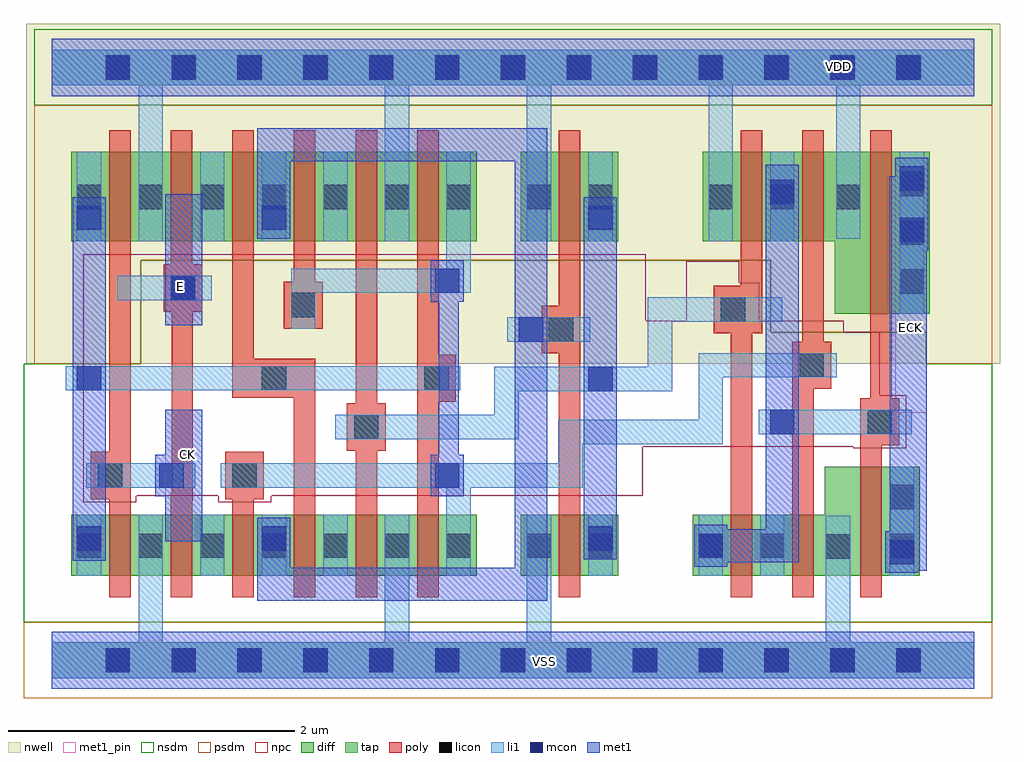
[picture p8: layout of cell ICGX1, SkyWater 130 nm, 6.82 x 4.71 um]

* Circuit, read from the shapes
.subckt ICGX1 CK E ECK VDD VSS
XM1 VSS CK n1 VSS sky130_fd_pr__nfet_01v8 w=0.425 l=0.15
XM2 n2 E VSS VSS sky130_fd_pr__nfet_01v8 w=0.425 l=0.15
XM3 n3 n4 n2 VSS sky130_fd_pr__nfet_01v8 w=0.425 l=0.15
XM4 n5 n1 n3 VSS sky130_fd_pr__nfet_01v8 w=0.425 l=0.15
XM5 VSS n6 n5 VSS sky130_fd_pr__nfet_01v8 w=0.425 l=0.15
XM6 n4 n1 VSS VSS sky130_fd_pr__nfet_01v8 w=0.425 l=0.15
XM7 n6 n3 VSS VSS sky130_fd_pr__nfet_01v8 w=0.425 l=0.15
XM8 n7 n6 n8 VSS sky130_fd_pr__nfet_01v8 w=0.425 l=0.15
XM9 VSS n4 n7 VSS sky130_fd_pr__nfet_01v8 w=0.425 l=0.15
XM10 ECK n8 VSS VSS sky130_fd_pr__nfet_01v8 w=0.76 l=0.15
XM11 VDD CK n1 VDD sky130_fd_pr__pfet_01v8 w=0.625 l=0.15
XM12 n9 E VDD VDD sky130_fd_pr__pfet_01v8 w=0.625 l=0.15
XM13 n3 n1 n9 VDD sky130_fd_pr__pfet_01v8 w=0.625 l=0.15
XM14 n10 n4 n3 VDD sky130_fd_pr__pfet_01v8 w=0.625 l=0.15
XM15 VDD n6 n10 VDD sky130_fd_pr__pfet_01v8 w=0.625 l=0.15
XM16 n4 n1 VDD VDD sky130_fd_pr__pfet_01v8 w=0.625 l=0.15
XM17 n6 n3 VDD VDD sky130_fd_pr__pfet_01v8 w=0.625 l=0.15
XM18 n8 n6 VDD VDD sky130_fd_pr__pfet_01v8 w=0.625 l=0.15
XM19 VDD n4 n8 VDD sky130_fd_pr__pfet_01v8 w=0.625 l=0.15
XM20 ECK n8 VDD VDD sky130_fd_pr__pfet_01v8 w=1.13 l=0.15
.ends

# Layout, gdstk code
from math import pi, radians
import gdstk
lib = gdstk.Library(unit=1e-6, precision=1e-09)
def R(c, l, rs):  # rectangles x0, y0, x1, y1
    for r in rs: c.add(gdstk.rectangle(r[:2], r[2:], *l))
def A(c, l, x, y, w, h, nx, ny, dx, dy):  # array of equal rectangles
    R(c, l, [(x+i*dx, y+j*dy, x+i*dx+w, y+j*dy+h) for i in range(nx) for j in range(ny)])
def P(c, l, *ps):  # polygons
    for p in ps: c.add(gdstk.Polygon(p, *l))
nwell = (64, 20)
diff = (65, 20)
tap = (65, 44)
poly = (66, 20)
licon = (66, 44)
li1 = (67, 20)
mcon = (67, 44)
met1_pin = (68, 16)
met1 = (68, 20)
nsdm = (93, 44)
psdm = (94, 20)
npc = (95, 20)

pyl1con_c_cdns_750710154 = lib.new_cell('PYL1CON_C_CDNS_750710154092')
R(pyl1con_c_cdns_750710154, poly, [(-0.135,-0.165,0.135,0.165)])
R(pyl1con_c_cdns_750710154, licon, [(-0.085,-0.085,0.085,0.085)])
R(pyl1con_c_cdns_750710154, npc, [(-0.185,-0.185,0.185,0.185)])

l1m1_c_cdns_750710154090 = lib.new_cell('L1M1_C_CDNS_750710154090')
R(l1m1_c_cdns_750710154090, li1, [(-0.165,-0.085,0.165,0.085)])
R(l1m1_c_cdns_750710154090, mcon, [(-0.085,-0.085,0.085,0.085)])
R(l1m1_c_cdns_750710154090, met1, [(-0.115,-0.145,0.115,0.145)])

l1m1_c_cdns_750710154094 = lib.new_cell('L1M1_C_CDNS_750710154094')
R(l1m1_c_cdns_750710154094, li1, [(-0.085,-0.345,0.085,0.345)])
R(l1m1_c_cdns_750710154094, mcon, [(-0.085,-0.265,0.085,-0.095), (-0.085,0.095,0.085,0.265)])
R(l1m1_c_cdns_750710154094, met1, [(-0.115,-0.325,0.115,0.325)])

l1m1_c_cdns_750710154091 = lib.new_cell('L1M1_C_CDNS_750710154091')
R(l1m1_c_cdns_750710154091, li1, [(-0.085,-0.165,0.085,0.165)])
R(l1m1_c_cdns_750710154091, mcon, [(-0.085,-0.085,0.085,0.085)])
R(l1m1_c_cdns_750710154091, met1, [(-0.115,-0.145,0.115,0.145)])

c_pyl1con_c_cdns_750710154 = lib.new_cell('PYL1CON_C_CDNS_750710154099')
R(c_pyl1con_c_cdns_750710154, poly, [(-0.135,-0.29,0.135,0.29)])
R(c_pyl1con_c_cdns_750710154, licon, [(-0.085,-0.085,0.085,0.085)])
R(c_pyl1con_c_cdns_750710154, npc, [(-0.185,-0.185,0.185,0.185)])

licondiff_c_cdns_7507101 = lib.new_cell('LICONDIFF_C_CDNS_7507101540911')
R(licondiff_c_cdns_7507101, diff, [(-0.125,-0.145,0.125,0.145)])
R(licondiff_c_cdns_7507101, licon, [(-0.085,-0.085,0.085,0.085), (-0.085,-0.085,0.085,0.085)])

lilicon_c_cdns_750710154 = lib.new_cell('LILICON_C_CDNS_7507101540918')
R(lilicon_c_cdns_750710154, licon, [(-0.085,-0.085,0.085,0.085), (-0.085,-0.085,0.085,0.085)])
R(lilicon_c_cdns_750710154, li1, [(-0.085,-0.165,0.085,0.165)])

icgx1 = lib.new_cell('ICGX1')
R(icgx1, nwell, [(-0.18,2.07,6.16,4.445), (3.96,2.07,6.62,3.995), (5.285,2.24,6.31,3.73), (-0.045,2.745,0.785,3.73), (0.425,2.745,1.425,3.73), (0.815,2.745,1.645,3.73), (1.285,2.745,2.285,3.73), (1.675,2.745,2.715,3.73), (2.105,2.745,3.145,3.73), (3.095,2.745,4.135,3.73), (4.365,2.745,5.405,3.73), (4.795,2.745,5.645,3.73), (-0.18,3.875,6.16,4.445), (3.96,3.875,6.62,4.445)])
A(icgx1, diff, 0.4, 0.59, 0.15, 0.425, 6, 1, 0.43, 0)
A(icgx1, diff, 0.4, 2.925, 0.15, 0.625, 6, 1, 0.43, 0)
R(icgx1, diff, [(0.135,0.59,0.4,1.015), (0.55,0.59,0.605,1.015), (0.605,0.59,0.83,1.015), (0.98,0.59,1.245,1.015), (0.995,0.59,1.26,1.015), (1.41,0.59,1.635,1.015), (1.635,0.59,1.69,1.015), (1.84,0.59,2.105,1.015), (1.855,0.59,2.12,1.015), (2.27,0.59,2.535,1.015), (2.285,0.59,2.55,1.015), (2.7,0.59,2.965,1.015), (3.275,0.59,3.54,1.015), (3.54,0.59,3.69,1.015), (3.69,0.59,3.955,1.015), (4.475,0.59,4.74,1.015), (4.74,0.59,4.89,1.015), (4.89,0.59,5.155,1.015), (4.905,0.59,5.17,1.015), (5.17,0.59,5.32,1.015), (5.32,0.59,5.395,1.015), (5.395,0.59,5.645,1.35), (5.645,0.59,5.795,1.35), (5.795,0.59,6.06,1.35), (5.465,2.42,5.715,3.55), (5.715,2.42,5.865,3.55), (5.865,2.42,6.13,3.55), (0.135,2.925,0.4,3.55), (0.55,2.925,0.605,3.55), (0.605,2.925,0.83,3.55), (0.98,2.925,1.245,3.55), (0.995,2.925,1.26,3.55), (1.41,2.925,1.465,3.55), (1.465,2.925,1.69,3.55), (1.84,2.925,2.105,3.55), (1.855,2.925,2.12,3.55), (2.27,2.925,2.535,3.55), (2.285,2.925,2.55,3.55), (2.7,2.925,2.965,3.55), (3.275,2.925,3.54,3.55), (3.54,2.925,3.69,3.55), (3.69,2.925,3.955,3.55), (4.545,2.925,4.81,3.55), (4.81,2.925,4.96,3.55), (4.96,2.925,5.225,3.55), (4.975,2.925,5.24,3.55), (5.24,2.925,5.39,3.55), (5.39,2.925,5.465,3.55)])
A(icgx1, poly, 0.4, 0.44, 0.15, 0.055, 6, 2, 0.43, 0.67)
A(icgx1, poly, 0.4, 0.495, 0.15, 0.095, 6, 2, 0.43, 0.52)
A(icgx1, poly, 0.4, 0.59, 0.15, 0.425, 6, 1, 0.43, 0)
A(icgx1, poly, 1.26, 2.775, 0.15, 0.055, 4, 1, 0.43, 0)
A(icgx1, poly, 1.26, 2.83, 0.15, 0.095, 4, 1, 0.43, 0)
A(icgx1, poly, 0.4, 2.925, 0.15, 0.625, 6, 1, 0.43, 0)
A(icgx1, poly, 0.4, 3.55, 0.15, 0.095, 6, 1, 0.43, 0)
A(icgx1, poly, 0.4, 3.645, 0.15, 0.055, 6, 1, 0.43, 0)
R(icgx1, poly, [(3.54,0.44,3.69,0.495), (4.74,0.44,4.89,0.495), (5.17,0.44,5.32,0.495), (5.645,0.44,5.795,0.495), (3.54,0.495,3.69,0.59), (4.74,0.495,4.89,0.59), (5.17,0.495,5.32,0.59), (5.645,0.495,5.795,0.59), (3.54,0.59,3.69,1.015), (4.74,0.59,4.89,1.015), (5.17,0.59,5.32,1.015), (5.645,0.59,5.795,1.35), (3.54,1.015,3.69,1.11), (4.74,1.015,4.89,1.11), (5.17,1.015,5.32,1.11), (3.54,1.11,3.69,1.165), (4.74,1.11,4.89,1.165), (5.17,1.11,5.32,1.165), (5.645,1.35,5.795,1.445), (5.645,1.445,5.795,1.5), (5.715,2.27,5.865,2.325), (5.715,2.325,5.865,2.42), (5.715,2.42,5.865,3.55), (0.83,2.725,0.98,2.78), (0.4,2.775,0.55,2.83), (3.54,2.775,3.69,2.83), (4.81,2.775,4.96,2.83), (5.24,2.775,5.39,2.83), (0.83,2.78,0.98,2.925), (0.4,2.83,0.55,2.925), (3.54,2.83,3.69,2.925), (4.81,2.83,4.96,2.925), (5.24,2.83,5.39,2.925), (3.54,2.925,3.69,3.55), (4.81,2.925,4.96,3.55), (5.24,2.925,5.39,3.55), (3.54,3.55,3.69,3.645), (4.81,3.55,4.96,3.645), (5.24,3.55,5.39,3.645), (5.715,3.55,5.865,3.645), (3.54,3.645,3.69,3.7), (4.81,3.645,4.96,3.7), (5.24,3.645,5.39,3.7), (5.715,3.645,5.865,3.7)])
P(icgx1, poly, [(5.28,2.025),(5.235,2.07),(5.235,2.14),(5.275,2.18),(5.345,2.18),(5.39,2.135),(5.39,2.065),(5.35,2.025)])
A(icgx1, licon, 0.375, -0.085, 0.17, 0.17, 9, 2, 0.46, 4.14)
A(icgx1, licon, 4.055, -0.085, 0.17, 0.17, 5, 1, 0.46, 0)
A(icgx1, licon, 0.175, 0.715, 0.17, 0.17, 3, 2, 0.43, 2.435)
A(icgx1, licon, 1.035, 0.715, 0.17, 0.17, 3, 2, 0.43, 2.435)
A(icgx1, licon, 5.92, 2.56, 0.17, 0.17, 1, 3, 0, 0.34)
A(icgx1, licon, 4.515, 4.055, 0.17, 0.17, 4, 1, 0.46, 0)
R(icgx1, licon, [(1.895,0.715,2.065,0.885), (2.325,0.715,2.495,0.885), (2.325,0.715,2.495,0.885), (2.755,0.715,2.925,0.885), (3.315,0.715,3.485,0.885), (3.745,0.715,3.915,0.885), (4.515,0.715,4.685,0.885), (4.945,0.715,5.115,0.885), (4.945,0.715,5.115,0.885), (5.85,0.715,6.02,0.885), (5.85,1.055,6.02,1.225), (1.895,3.15,2.065,3.32), (2.325,3.15,2.495,3.32), (2.325,3.15,2.495,3.32), (2.755,3.15,2.925,3.32), (3.315,3.15,3.485,3.32), (3.745,3.15,3.915,3.32), (4.585,3.15,4.755,3.32), (5.015,3.15,5.185,3.32), (5.015,3.15,5.185,3.32), (4.055,4.055,4.225,4.225), (4.515,4.055,4.685,4.225)])
A(icgx1, li1, 0.175, 0.59, 0.17, 0.425, 3, 1, 0.43, 0)
A(icgx1, li1, 1.035, 0.59, 0.17, 0.425, 3, 1, 0.43, 0)
A(icgx1, li1, 0.175, 2.925, 0.17, 0.625, 3, 1, 0.43, 0)
A(icgx1, li1, 1.035, 2.925, 0.17, 0.625, 3, 1, 0.43, 0)
R(icgx1, li1, [(1.895,0.59,2.065,1.015), (2.325,0.59,2.495,1.015), (2.325,0.59,2.495,1.015), (2.755,0.59,2.925,1.015), (3.315,0.59,3.485,1.015), (3.745,0.59,3.915,1.015), (4.515,0.59,4.685,1.015), (4.945,0.59,5.115,1.015), (4.945,0.59,5.115,1.015), (5.85,0.59,6.02,1.35), (1.67,2.315,1.84,2.735), (5.92,2.42,6.09,3.55), (1.895,2.925,2.065,3.55), (2.325,2.925,2.495,3.55), (2.325,2.925,2.495,3.55), (2.755,2.925,2.925,3.55), (3.315,2.925,3.485,3.55), (3.745,2.925,3.915,3.55), (4.585,2.925,4.755,3.55), (5.015,2.925,5.185,3.55), (5.015,2.925,5.185,3.55)])
A(icgx1, mcon, 0.375, -0.085, 0.17, 0.17, 9, 2, 0.46, 4.14)
A(icgx1, mcon, 4.055, -0.085, 0.17, 0.17, 5, 1, 0.46, 0)
A(icgx1, mcon, 4.515, 4.055, 0.17, 0.17, 4, 1, 0.46, 0)
R(icgx1, mcon, [(4.055,4.055,4.225,4.225), (4.515,4.055,4.685,4.225)])
R(icgx1, met1_pin, [(0,-0.2,6.44,0.2), (0.79,0.83,1.05,1.75), (5.89,1.73,6.11,3.51), (0.79,2.34,1.05,3.255), (0,3.94,6.44,4.34)])
R(icgx1, met1, [(0.85,1.385,0.99,1.525), (0.83,2.525,0.97,2.665), (5.905,2.915,6.045,3.055)])
R(icgx1, nsdm, [(-0.005,0.46,0.615,1.145), (0.595,0.46,1.385,1.145), (0.855,0.46,1.645,1.145), (1.625,0.46,2.245,1.145), (1.715,0.46,2.675,1.145), (2.145,0.46,3.105,1.145), (3.135,0.46,4.095,1.145), (4.335,0.46,5.295,1.145), (4.765,0.46,5.275,1.145), (5.255,0.46,6.2,1.48), (-0.125,3.875,6.105,4.405), (4.015,3.875,6.565,4.405), (4.015,3.93,6.565,4.35)])
P(icgx1, nsdm, [(6.565,2.07),(6.105,2.07),(6.105,2.29),(5.02,2.29),(5.02,0.265),(6.565,0.265)],
  [(6.565,2.07),(5.02,2.07),(5.02,2.795),(0.62,2.795),(0.62,2.07),(-0.195,2.07),(-0.195,0.265),(6.565,0.265)])
R(icgx1, psdm, [(-0.195,-0.265,6.565,0.265), (-0.195,-0.21,6.565,0.21), (5.325,2.29,6.27,3.68), (-0.005,2.795,0.615,3.68), (0.595,2.795,1.385,3.68), (0.855,2.795,1.475,3.68), (1.455,2.795,2.245,3.68), (1.715,2.795,2.675,3.68), (2.145,2.795,3.105,3.68), (3.135,2.795,4.095,3.68), (4.405,2.795,5.365,3.68), (4.835,2.795,5.345,3.68)])
P(icgx1, psdm, [(6.565,3.875),(5.02,3.875),(5.02,2.29),(6.105,2.29),(6.105,2.07),(6.565,2.07)],
  [(6.105,3.875),(-0.125,3.875),(-0.125,2.07),(0.62,2.07),(0.62,2.795),(5.02,2.795),(5.02,2.29),(6.105,2.29)])
P(icgx1, npc, [(5.78,2.295),(4.8,2.295),(4.8,2.785),(4.43,2.785),(4.43,1.49),(5.78,1.49)],
  [(5.53,2.37),(4.145,2.37),(4.145,2.835),(0.22,2.835),(0.22,1.15),(4.125,1.15),(4.125,1.49),(5.53,1.49)])
icgx1.add(gdstk.FlexPath([(4.885,2.835),(4.885,2.36)], 0.15, ends=(0, 0.075), simple_path=True, layer=66, datatype=20))  # poly
icgx1.add(gdstk.FlexPath([(5.245,1.165),(5.245,2.105)], 0.15, ends=(0, 0.075), simple_path=True, layer=66, datatype=20))  # poly
icgx1.add(gdstk.FlexPath([(5.245,2.105),(5.31,2.105)], 0.15, ends=(0.075, 0), simple_path=True, layer=66, datatype=20))  # poly
icgx1.add(gdstk.FlexPath([(4.815,2.54),(4.815,1.165)], 0.15, ends=(0.075, 0), simple_path=True, layer=66, datatype=20))  # poly
icgx1.add(gdstk.FlexPath([(2.195,2.83),(2.195,1.11)], 0.15, ends="flush", simple_path=True, layer=66, datatype=20))  # poly
icgx1.add(gdstk.FlexPath([(1.765,2.775),(1.765,2.51)], 0.15, ends="flush", simple_path=True, layer=66, datatype=20))  # poly
icgx1.add(gdstk.FlexPath([(0.475,2.83),(0.475,1.04)], 0.15, ends="flush", simple_path=True, layer=66, datatype=20))  # poly
icgx1.add(gdstk.FlexPath([(3.615,1.11),(3.615,2.83)], 0.15, ends="flush", simple_path=True, layer=66, datatype=20))  # poly
icgx1.add(gdstk.FlexPath([(0.91,1.11),(0.91,2.78)], 0.15, ends="flush", simple_path=True, layer=66, datatype=20))  # poly
icgx1.add(gdstk.FlexPath([(2.625,1.165),(2.625,2.775)], 0.15, ends="flush", simple_path=True, layer=66, datatype=20))  # poly
icgx1.add(gdstk.FlexPath([(1.765,1.97),(1.765,1.11)], 0.15, ends=(0.075, 0), simple_path=True, layer=66, datatype=20))  # poly
icgx1.add(gdstk.FlexPath([(1.335,1.97),(1.765,1.97)], 0.15, ends="extended", simple_path=True, layer=66, datatype=20))  # poly
icgx1.add(gdstk.FlexPath([(1.335,1.97),(1.335,2.83)], 0.15, ends=(0.075, 0), simple_path=True, layer=66, datatype=20))  # poly
icgx1.add(gdstk.FlexPath([(5.79,2.27),(5.79,1.5)], 0.15, ends="flush", simple_path=True, layer=66, datatype=20))  # poly
icgx1.add(gdstk.FlexPath([(5.315,2.1),(5.315,2.775)], 0.15, ends="flush", simple_path=True, layer=66, datatype=20))  # poly
icgx1.add(gdstk.FlexPath([(2.635,1.97),(2.85,1.97)], 0.17, ends=(0.085, 0), simple_path=True, layer=67, datatype=20))  # li1
icgx1.add(gdstk.FlexPath([(3.345,2.31),(3.76,2.31)], 0.17, ends="flush", simple_path=True, layer=67, datatype=20))  # li1
icgx1.add(gdstk.FlexPath([(0,4.14),(4.14,4.14)], 0.25, ends="flush", simple_path=True, layer=67, datatype=20))  # li1
icgx1.add(gdstk.FlexPath([(4.245,2.45),(5.1,2.45)], 0.17, ends=(0.085, 0), simple_path=True, layer=67, datatype=20))  # li1
icgx1.add(gdstk.FlexPath([(4.14,4.14),(6.44,4.14)], 0.25, ends="flush", simple_path=True, layer=67, datatype=20))  # li1
icgx1.add(gdstk.FlexPath([(5.56,3.08),(5.56,3.07)], 0.17, ends=(0.125, 0.125), simple_path=True, layer=67, datatype=20))  # li1
icgx1.add(gdstk.FlexPath([(4.9,2.06),(4.6,2.06),(4.6,1.595),(3.62,1.595),(3.62,1.29),(2.88,1.29)], 0.17, ends="flush", simple_path=True, layer=67, datatype=20))  # li1
icgx1.add(gdstk.FlexPath([(1.98,1.63),(3.175,1.63)], 0.17, ends=(0, 0.085), simple_path=True, layer=67, datatype=20))  # li1
icgx1.add(gdstk.FlexPath([(3.175,1.63),(3.175,1.965)], 0.17, ends="extended", simple_path=True, layer=67, datatype=20))  # li1
icgx1.add(gdstk.FlexPath([(3.175,1.965),(4.33,1.965)], 0.17, ends=(0.085, 0), simple_path=True, layer=67, datatype=20))  # li1
icgx1.add(gdstk.FlexPath([(0,0),(6.44,0)], 0.25, ends="flush", simple_path=True, layer=67, datatype=20))  # li1
icgx1.add(gdstk.FlexPath([(4.67,3.55),(4.67,4.14)], 0.17, ends=(0, 0.125), simple_path=True, layer=67, datatype=20))  # li1
icgx1.add(gdstk.FlexPath([(4.88,2.06),(5.48,2.06)], 0.17, ends="flush", simple_path=True, layer=67, datatype=20))  # li1
icgx1.add(gdstk.FlexPath([(4.245,1.88),(4.245,2.45)], 0.17, ends=(0, 0.085), simple_path=True, layer=67, datatype=20))  # li1
icgx1.add(gdstk.FlexPath([(6.005,1.665),(5.135,1.665)], 0.17, ends="flush", simple_path=True, layer=67, datatype=20))  # li1
icgx1.add(gdstk.FlexPath([(5.49,0.02),(5.49,0.01)], 0.17, ends=(0.125, 0.125), simple_path=True, layer=67, datatype=20))  # li1
icgx1.add(gdstk.FlexPath([(5.49,1.01),(5.49,0.02)], 0.17, ends=(0, 0.125), simple_path=True, layer=67, datatype=20))  # li1
icgx1.add(gdstk.FlexPath([(2.635,1.97),(2.635,1.975)], 0.17, ends=(0.085, 0), simple_path=True, layer=67, datatype=20))  # li1
icgx1.add(gdstk.FlexPath([(2.84,1.015),(2.84,1.29)], 0.17, ends="flush", simple_path=True, layer=67, datatype=20))  # li1
icgx1.add(gdstk.FlexPath([(0.69,2.925),(0.69,4.14)], 0.17, ends=(0, 0.125), simple_path=True, layer=67, datatype=20))  # li1
icgx1.add(gdstk.FlexPath([(0.69,1.015),(0.69,0)], 0.17, ends=(0, 0.125), simple_path=True, layer=67, datatype=20))  # li1
icgx1.add(gdstk.FlexPath([(0.24,1.29),(0.785,1.29)], 0.17, ends="flush", simple_path=True, layer=67, datatype=20))  # li1
icgx1.add(gdstk.FlexPath([(0.455,2.6),(1.115,2.6)], 0.17, ends="flush", simple_path=True, layer=67, datatype=20))  # li1
icgx1.add(gdstk.FlexPath([(2.41,2.925),(2.41,4.14)], 0.17, ends=(0, 0.125), simple_path=True, layer=67, datatype=20))  # li1
icgx1.add(gdstk.FlexPath([(0.19,1.97),(2.635,1.97)], 0.17, ends=(0, 0.085), simple_path=True, layer=67, datatype=20))  # li1
icgx1.add(gdstk.FlexPath([(1.18,1.29),(2.825,1.29)], 0.17, ends="flush", simple_path=True, layer=67, datatype=20))  # li1
icgx1.add(gdstk.FlexPath([(2.41,1.015),(2.41,0)], 0.17, ends=(0, 0.125), simple_path=True, layer=67, datatype=20))  # li1
icgx1.add(gdstk.FlexPath([(3.4,1.015),(3.4,0)], 0.17, ends=(0, 0.125), simple_path=True, layer=67, datatype=20))  # li1
icgx1.add(gdstk.FlexPath([(2.84,2.925),(2.84,2.65)], 0.17, ends="flush", simple_path=True, layer=67, datatype=20))  # li1
icgx1.add(gdstk.FlexPath([(3.4,2.925),(3.4,4.14)], 0.17, ends=(0, 0.125), simple_path=True, layer=67, datatype=20))  # li1
icgx1.add(gdstk.FlexPath([(1.67,2.65),(2.79,2.65)], 0.17, ends="flush", simple_path=True, layer=67, datatype=20))  # li1
icgx1.add(gdstk.FlexPath([(5.56,4.07),(5.56,3.08)], 0.17, ends=(0, 0.125), simple_path=True, layer=67, datatype=20))  # li1
icgx1.add(gdstk.FlexPath([(0,4.14),(6.44,4.14)], 0.25, ends="flush", simple_path=True, layer=65, datatype=44))  # tap
icgx1.add(gdstk.FlexPath([(0,0),(6.44,0)], 0.25, ends="flush", simple_path=True, layer=65, datatype=44))  # tap
icgx1.add(gdstk.FlexPath([(0,0),(6.44,0)], 0.4, ends="flush", simple_path=True, layer=68, datatype=20))  # met1
icgx1.add(gdstk.FlexPath([(5.835,0.755),(5.98,0.755)], 0.26, ends=(0, 0.13), simple_path=True, layer=68, datatype=20))  # met1
icgx1.add(gdstk.FlexPath([(5.98,0.755),(5.98,3.38)], 0.26, ends=(0.13, 0), simple_path=True, layer=68, datatype=20))  # met1
icgx1.add(gdstk.FlexPath([(5.1,3.345),(5.1,1.705)], 0.23, ends="extended", simple_path=True, layer=68, datatype=20))  # met1
icgx1.add(gdstk.FlexPath([(5.1,1.675),(5.1,0.8)], 0.23, ends=(0, 0.115), simple_path=True, layer=68, datatype=20))  # met1
icgx1.add(gdstk.FlexPath([(5.1,0.8),(4.635,0.8)], 0.23, ends=(0.115, 0), simple_path=True, layer=68, datatype=20))  # met1
icgx1.add(gdstk.FlexPath([(0,4.14),(6.44,4.14)], 0.4, ends="flush", simple_path=True, layer=68, datatype=20))  # met1
icgx1.add(gdstk.FlexPath([(0.92,0.83),(0.92,1.75)], 0.26, ends="flush", simple_path=True, layer=68, datatype=20))  # met1
icgx1.add(gdstk.FlexPath([(1.55,3.09),(1.55,3.6)], 0.23, ends=(0, 0.115), simple_path=True, layer=68, datatype=20))  # met1
icgx1.add(gdstk.FlexPath([(0.26,0.695),(0.26,3.225)], 0.23, ends="flush", simple_path=True, layer=68, datatype=20))  # met1
icgx1.add(gdstk.FlexPath([(0.92,2.34),(0.92,3.255)], 0.26, ends="flush", simple_path=True, layer=68, datatype=20))  # met1
icgx1.add(gdstk.FlexPath([(3.83,0.705),(3.83,3.235)], 0.23, ends="flush", simple_path=True, layer=68, datatype=20))  # met1
icgx1.add(gdstk.FlexPath([(2.77,2.72),(2.77,1.225)], 0.14, ends="flush", simple_path=True, layer=68, datatype=20))  # met1
icgx1.add(gdstk.FlexPath([(1.55,0.53),(1.55,0.85)], 0.23, ends=(0.115, 0), simple_path=True, layer=68, datatype=20))  # met1
icgx1.add(gdstk.FlexPath([(3.345,0.53),(1.55,0.53)], 0.23, ends="extended", simple_path=True, layer=68, datatype=20))  # met1
icgx1.add(gdstk.FlexPath([(3.345,3.6),(3.345,0.53)], 0.23, ends="extended", simple_path=True, layer=68, datatype=20))  # met1
icgx1.add(gdstk.FlexPath([(1.55,3.6),(3.345,3.6)], 0.23, ends="extended", simple_path=True, layer=68, datatype=20))  # met1
icgx1.add(gdstk.Reference(pyl1con_c_cdns_750710154, (2.685,1.97)))
icgx1.add(gdstk.Reference(pyl1con_c_cdns_750710154, (1.345,1.29), x_reflection=True))
icgx1.add(gdstk.Reference(pyl1con_c_cdns_750710154, (5.305,2.06), rotation=pi, x_reflection=True))
icgx1.add(gdstk.Reference(pyl1con_c_cdns_750710154, (5.78,1.665)))
icgx1.add(gdstk.Reference(pyl1con_c_cdns_750710154, (4.755,2.45), rotation=pi, x_reflection=True))
icgx1.add(gdstk.Reference(pyl1con_c_cdns_750710154, (1.755,2.48), rotation=pi))
icgx1.add(gdstk.Reference(pyl1con_c_cdns_750710154, (0.915,2.6), x_reflection=True))
icgx1.add(gdstk.Reference(pyl1con_c_cdns_750710154, (0.405,1.29), rotation=pi))
icgx1.add(gdstk.Reference(pyl1con_c_cdns_750710154, (3.555,2.31), x_reflection=True))
icgx1.add(gdstk.Reference(pyl1con_c_cdns_750710154, (2.195,1.63), rotation=pi))
icgx1.add(gdstk.Reference(l1m1_c_cdns_750710154090, (5.1,1.665), rotation=pi, x_reflection=True))
icgx1.add(gdstk.Reference(l1m1_c_cdns_750710154090, (2.76,2.65)))
icgx1.add(gdstk.Reference(l1m1_c_cdns_750710154090, (3.83,1.965)))
icgx1.add(gdstk.Reference(l1m1_c_cdns_750710154090, (0.915,2.6), x_reflection=True))
icgx1.add(gdstk.Reference(l1m1_c_cdns_750710154090, (2.76,1.29)))
icgx1.add(gdstk.Reference(l1m1_c_cdns_750710154090, (0.835,1.29), x_reflection=True))
icgx1.add(gdstk.Reference(l1m1_c_cdns_750710154090, (0.26,1.97), rotation=pi, x_reflection=True))
icgx1.add(gdstk.Reference(l1m1_c_cdns_750710154090, (3.345,2.31)))
icgx1.add(gdstk.Reference(l1m1_c_cdns_750710154094, (6.005,3.185)))
icgx1.add(gdstk.Reference(l1m1_c_cdns_750710154091, (5.1,3.27)))
icgx1.add(gdstk.Reference(l1m1_c_cdns_750710154091, (5.935,0.755)))
icgx1.add(gdstk.Reference(l1m1_c_cdns_750710154091, (1.55,3.09), rotation=pi, x_reflection=True))
icgx1.add(gdstk.Reference(l1m1_c_cdns_750710154091, (1.55,0.85), rotation=pi, x_reflection=True))
icgx1.add(gdstk.Reference(l1m1_c_cdns_750710154091, (3.83,0.85), rotation=pi, x_reflection=True))
icgx1.add(gdstk.Reference(l1m1_c_cdns_750710154091, (3.83,3.09), rotation=pi, x_reflection=True))
icgx1.add(gdstk.Reference(l1m1_c_cdns_750710154091, (0.26,0.85), rotation=pi, x_reflection=True))
icgx1.add(gdstk.Reference(l1m1_c_cdns_750710154091, (0.26,3.09), rotation=pi, x_reflection=True))
icgx1.add(gdstk.Reference(l1m1_c_cdns_750710154091, (4.6,0.8)))
icgx1.add(gdstk.Reference(c_pyl1con_c_cdns_750710154, (1.55,1.97), rotation=pi/2, x_reflection=True))
icgx1.add(gdstk.Reference(licondiff_c_cdns_7507101, (5.56,3.235)))
icgx1.add(gdstk.Reference(licondiff_c_cdns_7507101, (5.49,0.795)))
icgx1.add(gdstk.Reference(licondiff_c_cdns_7507101, (4.6,0.8)))
icgx1.add(gdstk.Reference(lilicon_c_cdns_750710154, (5.78,1.665), rotation=pi/2))
icgx1.add(gdstk.Label('ECK', (5.995,2.325), layer=68, texttype=5))
icgx1.add(gdstk.Label('CK', (0.945,1.435), layer=68, texttype=5))
icgx1.add(gdstk.Label('VSS', (3.44,-0.005), layer=68, texttype=5))
icgx1.add(gdstk.Label('E', (0.895,2.61), layer=68, texttype=5))
icgx1.add(gdstk.Label('VDD', (5.49,4.145), layer=68, texttype=5))

lib.write_gds('ICGX1.gds')
